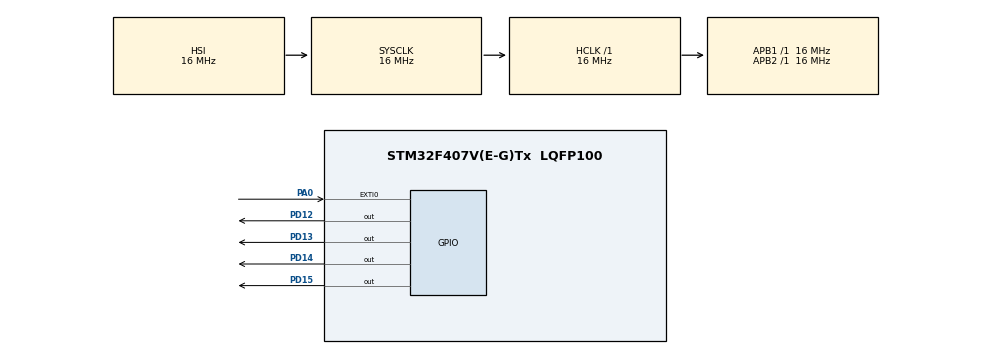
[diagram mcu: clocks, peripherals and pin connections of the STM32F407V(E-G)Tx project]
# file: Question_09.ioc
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Dma.Request0=TIM1_UP
Dma.TIM1_UP.0.Direction=DMA_MEMORY_TO_PERIPH
Dma.TIM1_UP.0.FIFOMode=DMA_FIFOMODE_DISABLE
Dma.TIM1_UP.0.Instance=DMA2_Stream5
Dma.TIM1_UP.0.MemDataAlignment=DMA_MDATAALIGN_WORD
Dma.TIM1_UP.0.MemInc=DMA_MINC_ENABLE
Dma.TIM1_UP.0.Mode=DMA_CIRCULAR
Dma.TIM1_UP.0.PeriphDataAlignment=DMA_PDATAALIGN_WORD
Dma.TIM1_UP.0.PeriphInc=DMA_PINC_DISABLE
Dma.TIM1_UP.0.Priority=DMA_PRIORITY_LOW
Mcu.Family=STM32F4
Mcu.Name=STM32F407V(E-G)Tx
Mcu.Package=LQFP100
NVIC.DMA2_Stream5_IRQn=true\:0\:0\:false\:false\:true\:false\:true\:true
NVIC.EXTI0_IRQn=true\:0\:0\:false\:false\:true\:true\:true\:true
NVIC.PriorityGroup=NVIC_PRIORITYGROUP_4
PA0-WKUP.Signal=GPXTI0
PD12.Signal=GPIO_Output
PD13.Signal=GPIO_Output
PD14.Signal=GPIO_Output
PD15.Signal=GPIO_Output
ProjectManager.HeapSize=0x200
ProjectManager.StackSize=0x400
ProjectManager.TargetToolchain=STM32CubeIDE
RCC.AHBFreq_Value=16000000
RCC.APB1Freq_Value=16000000
RCC.APB2Freq_Value=16000000
RCC.CortexFreq_Value=16000000
RCC.HSE_VALUE=25000000
RCC.HSI_VALUE=16000000
RCC.LSE_VALUE=32768
RCC.SYSCLKFreq_VALUE=16000000
RCC.VCOOutputFreq_Value=192000000
TIM1.Period=99
TIM1.Prescaler=16000
TIM1.TIM_MasterOutputTrigger=TIM_TRGO_UPDATE
VP_TIM1_VS_ClockSourceINT.Mode=Internal
board=custom

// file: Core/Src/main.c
/* USER CODE BEGIN Header */
/**
  ******************************************************************************
  * @file           : main.c
  * @brief          : Main program body
  ******************************************************************************
  * @attention
  *
  * Copyright (c) 2026 STMicroelectronics.
  * All rights reserved.
  *
  * This software is licensed under terms that can be found in the LICENSE file
  * in the root directory of this software component.
  * If no LICENSE file comes with this software, it is provided AS-IS.
  *
  ******************************************************************************
  */
/* USER CODE END Header */
#include "main.h"

TIM_HandleTypeDef htim1;
DMA_HandleTypeDef hdma_tim1_up;

/* USER CODE BEGIN PV */
uint32_t Led_Sequence[] = {
		0xF0000000,
		0xF0001000,
		0xF0002000,
		0xF0004000,
		0xF0008000,
		0xF000F000,
};
uint8_t btn_pressed = 1;

#define PATTERN_LENGTH   (sizeof(Led_Sequence)/sizeof(Led_Sequence[0]))
/* USER CODE END PV */

void SystemClock_Config(void);
static void MX_DMA_Init(void);
static void MX_GPIO_Init(void);
static void MX_TIM1_Init(void);

int main(void)
{

  /* MCU Configuration--------------------------------------------------------*/

  /* Reset of all peripherals, Initializes the Flash interface and the Systick. */
  HAL_Init();

  /* Configure the system clock */
  SystemClock_Config();

  /* Initialize all configured peripherals */
  MX_DMA_Init();
  MX_GPIO_Init();
  MX_TIM1_Init();
  /* USER CODE BEGIN 2 */

  HAL_DMA_Start(&hdma_tim1_up, (uint32_t)Led_Sequence, (uint32_t)&GPIOD->BSRR, PATTERN_LENGTH);

  __HAL_TIM_ENABLE_DMA(&htim1,TIM_DMA_UPDATE);

  HAL_TIM_Base_Start(&htim1);

  /* USER CODE END 2 */

  /* Infinite loop */
  while (1)
  {

    /* USER CODE BEGIN 3 */
	  if(btn_pressed)
	  {
		  HAL_TIM_Base_Start(&htim1);
	  }
	  else{
		  HAL_TIM_Base_Stop(&htim1);
	  }
  }
  /* USER CODE END 3 */
}

void SystemClock_Config(void)
{
  RCC_OscInitTypeDef RCC_OscInitStruct = {0};
  RCC_ClkInitTypeDef RCC_ClkInitStruct = {0};

  /** Configure the main internal regulator output voltage
  */
  __HAL_RCC_PWR_CLK_ENABLE();
  __HAL_PWR_VOLTAGESCALING_CONFIG(PWR_REGULATOR_VOLTAGE_SCALE1);

  /** Initializes the RCC Oscillators according to the specified parameters
  * in the RCC_OscInitTypeDef structure.
  */
  RCC_OscInitStruct.OscillatorType = RCC_OSCILLATORTYPE_HSI;
  RCC_OscInitStruct.HSIState = RCC_HSI_ON;
  RCC_OscInitStruct.HSICalibrationValue = RCC_HSICALIBRATION_DEFAULT;
  RCC_OscInitStruct.PLL.PLLState = RCC_PLL_NONE;
  if (HAL_RCC_OscConfig(&RCC_OscInitStruct) != HAL_OK)
  {
    Error_Handler();
  }

  /** Initializes the CPU, AHB and APB buses clocks
  */
  RCC_ClkInitStruct.ClockType = RCC_CLOCKTYPE_HCLK|RCC_CLOCKTYPE_SYSCLK
                              |RCC_CLOCKTYPE_PCLK1|RCC_CLOCKTYPE_PCLK2;
  RCC_ClkInitStruct.SYSCLKSource = RCC_SYSCLKSOURCE_HSI;
  RCC_ClkInitStruct.AHBCLKDivider = RCC_SYSCLK_DIV1;
  RCC_ClkInitStruct.APB1CLKDivider = RCC_HCLK_DIV1;
  RCC_ClkInitStruct.APB2CLKDivider = RCC_HCLK_DIV1;

  if (HAL_RCC_ClockConfig(&RCC_ClkInitStruct, FLASH_LATENCY_0) != HAL_OK)
  {
    Error_Handler();
  }
}

static void MX_TIM1_Init(void)
{

  TIM_ClockConfigTypeDef sClockSourceConfig = {0};
  TIM_MasterConfigTypeDef sMasterConfig = {0};

  htim1.Instance = TIM1;
  htim1.Init.Prescaler = 16000;
  htim1.Init.CounterMode = TIM_COUNTERMODE_UP;
  htim1.Init.Period = 99;
  htim1.Init.ClockDivision = TIM_CLOCKDIVISION_DIV1;
  htim1.Init.RepetitionCounter = 0;
  htim1.Init.AutoReloadPreload = TIM_AUTORELOAD_PRELOAD_DISABLE;
  if (HAL_TIM_Base_Init(&htim1) != HAL_OK)
  {
    Error_Handler();
  }
  sClockSourceConfig.ClockSource = TIM_CLOCKSOURCE_INTERNAL;
  if (HAL_TIM_ConfigClockSource(&htim1, &sClockSourceConfig) != HAL_OK)
  {
    Error_Handler();
  }
  sMasterConfig.MasterOutputTrigger = TIM_TRGO_UPDATE;
  sMasterConfig.MasterSlaveMode = TIM_MASTERSLAVEMODE_DISABLE;
  if (HAL_TIMEx_MasterConfigSynchronization(&htim1, &sMasterConfig) != HAL_OK)
  {
    Error_Handler();
  }

}

static void MX_DMA_Init(void)
{

  /* DMA controller clock enable */
  __HAL_RCC_DMA2_CLK_ENABLE();

  /* DMA interrupt init */
  /* DMA2_Stream5_IRQn interrupt configuration */
  HAL_NVIC_SetPriority(DMA2_Stream5_IRQn, 0, 0);
  HAL_NVIC_EnableIRQ(DMA2_Stream5_IRQn);

}

static void MX_GPIO_Init(void)
{
  GPIO_InitTypeDef GPIO_InitStruct = {0};

  /* GPIO Ports Clock Enable */
  __HAL_RCC_GPIOA_CLK_ENABLE();
  __HAL_RCC_GPIOD_CLK_ENABLE();

  /*Configure GPIO pin Output Level */
  HAL_GPIO_WritePin(GPIOD, GPIO_PIN_12|GPIO_PIN_13|GPIO_PIN_14|GPIO_PIN_15, GPIO_PIN_RESET);

  /*Configure GPIO pin : PA0 */
  GPIO_InitStruct.Pin = GPIO_PIN_0;
  GPIO_InitStruct.Mode = GPIO_MODE_IT_RISING;
  GPIO_InitStruct.Pull = GPIO_NOPULL;
  HAL_GPIO_Init(GPIOA, &GPIO_InitStruct);

  /*Configure GPIO pins : PD12 PD13 PD14 PD15 */
  GPIO_InitStruct.Pin = GPIO_PIN_12|GPIO_PIN_13|GPIO_PIN_14|GPIO_PIN_15;
  GPIO_InitStruct.Mode = GPIO_MODE_OUTPUT_PP;
  GPIO_InitStruct.Pull = GPIO_NOPULL;
  GPIO_InitStruct.Speed = GPIO_SPEED_FREQ_LOW;
  HAL_GPIO_Init(GPIOD, &GPIO_InitStruct);

  /* EXTI interrupt init*/
  HAL_NVIC_SetPriority(EXTI0_IRQn, 0, 0);
  HAL_NVIC_EnableIRQ(EXTI0_IRQn);

}

/* USER CODE BEGIN 4 */
void HAL_GPIO_EXTI_Callback(uint16_t GPIO_Pin)
{
	if(GPIO_Pin == GPIO_PIN_0)
	{
		btn_pressed = !btn_pressed;
	}
}

/* USER CODE END 4 */

void Error_Handler(void)
{
  __disable_irq();
  while (1)
  {
  }
}
